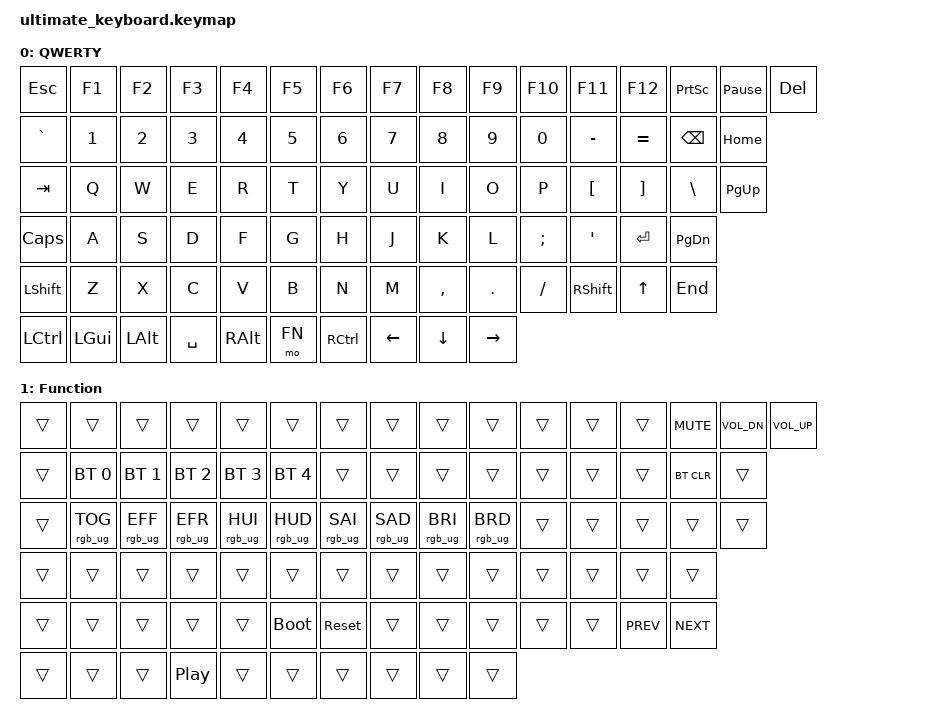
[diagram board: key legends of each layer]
/*
 * Copyright (c) 2026 Hashim
 * SPDX-License-Identifier: MIT
 */

#include <behaviors.dtsi>
#include <dt-bindings/zmk/keys.h>
#include <dt-bindings/zmk/bt.h>
#include <dt-bindings/zmk/rgb.h>
#include <dt-bindings/zmk/outputs.h>
#include <dt-bindings/zmk/ext_power.h>

#define DEFAULT 0
#define FN      1

/ {
    keymap {
        compatible = "zmk,keymap";

        default_layer {
            display-name = "QWERTY";
            bindings = <
                /* Row 0 - Function Row (16 keys) */
                &kp ESC    &kp F1    &kp F2    &kp F3    &kp F4    &kp F5    &kp F6    &kp F7    &kp F8    &kp F9    &kp F10   &kp F11   &kp F12    &kp PSCRN  &kp PAUSE_BREAK  &kp DEL
                /* Row 1 - Number Row (15 keys) */
                &kp GRAVE  &kp N1    &kp N2    &kp N3    &kp N4    &kp N5    &kp N6    &kp N7    &kp N8    &kp N9    &kp N0    &kp MINUS &kp EQUAL  &kp BSPC   &kp HOME
                /* Row 2 - QWERTY Row (15 keys) */
                &kp TAB    &kp Q     &kp W     &kp E     &kp R     &kp T     &kp Y     &kp U     &kp I     &kp O     &kp P     &kp LBKT  &kp RBKT   &kp BSLH   &kp PG_UP
                /* Row 3 - Home Row (14 keys) */
                &kp CLCK   &kp A     &kp S     &kp D     &kp F     &kp G     &kp H     &kp J     &kp K     &kp L     &kp SEMI  &kp SQT   &kp RET    &kp PG_DN
                /* Row 4 - Bottom Row (14 keys) */
                &kp LSHFT  &kp Z     &kp X     &kp C     &kp V     &kp B     &kp N     &kp M     &kp COMMA &kp DOT   &kp FSLH  &kp RSHFT &kp UP     &kp END
                /* Row 5 - Modifiers & Arrows (10 keys) */
                &kp LCTRL  &kp LGUI  &kp LALT  &kp SPACE &kp RALT  &mo FN    &kp RCTRL &kp LEFT  &kp DOWN  &kp RIGHT
            >;
        };

        fn_layer {
            display-name = "Function";
            bindings = <
                /* Row 0 - Audio Controls & Utilities */
                &trans     &trans          &trans          &trans          &trans          &trans          &trans           &trans           &trans           &trans           &trans     &trans    &trans     &kp C_MUTE &kp C_VOL_DN &kp C_VOL_UP
                /* Row 1 - Bluetooth Profiles (1-5) and Clear */
                &trans     &bt BT_SEL 0    &bt BT_SEL 1    &bt BT_SEL 2    &bt BT_SEL 3    &bt BT_SEL 4    &trans           &trans           &trans           &trans           &trans     &trans    &trans     &bt BT_CLR &trans
                /* Row 2 - Per-Key RGB Controls (Toggle, Effects, Hue, Sat, Bri) */
                &trans     &rgb_ug RGB_TOG &rgb_ug RGB_EFF &rgb_ug RGB_EFR &rgb_ug RGB_HUI &rgb_ug RGB_HUD &rgb_ug RGB_SAI  &rgb_ug RGB_SAD  &rgb_ug RGB_BRI  &rgb_ug RGB_BRD  &trans     &trans    &trans     &trans     &trans
                /* Row 3 - Extended Functions */
                &trans     &trans          &trans          &trans          &trans          &trans          &trans           &trans           &trans           &trans           &trans     &trans    &trans     &trans
                /* Row 4 - Flashing Bootloader, Reset & Media Prev/Next */
                &trans     &trans          &trans          &trans          &trans          &bootloader     &sys_reset       &trans           &trans           &trans           &trans     &trans    &kp C_PREV &kp C_NEXT
                /* Row 5 - Play/Pause & Modifiers */
                &trans     &trans          &trans          &kp C_PP        &trans          &trans          &trans           &trans           &trans           &trans
            >;
        };
    };
};
